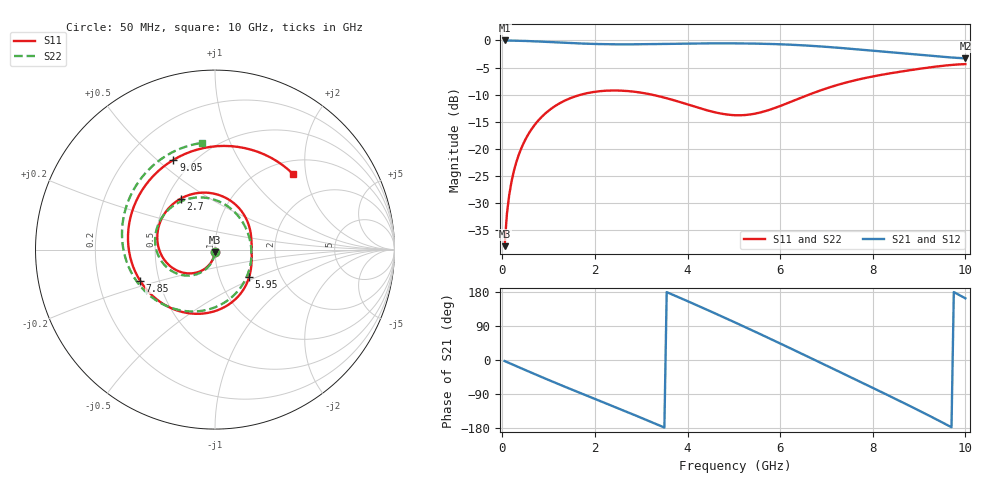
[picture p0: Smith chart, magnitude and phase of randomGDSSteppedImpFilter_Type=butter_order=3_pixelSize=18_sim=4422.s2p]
! freq	dB(S11)	phase(S11)	dB(S12)	phase(S12)
!  dB(S21)	phase(S21)	dB(S22)	phase(S22)
!S-par simulation data
#  GHz  S  DB  R 50
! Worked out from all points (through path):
!   200 points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, 50 MHz to 10 GHz, reference 50 ohm
!   highest |S21| = -0.01 dB at 50 MHz (marker M1); lowest = -3.3 dB at 10 GHz (marker M2)
!   group delay of S21, straight-line fit = 154 ps
!   lowest |S11| = -37.9 dB at 50 MHz (marker M3), VSWR 1.03, Z = 49.9 - j1.27 ohm
!   |S11| at or under -10 dB: start of sweep to 1.694 GHz; 3.237 GHz to 6.618 GHz (3.38 GHz wide, 68.6 % of centre)
!   |S22| runs from -37.9 to -4.5 dB; largest |S21 - S12| = 0
!   S11 on the Smith chart (normalised r, x): 50 MHz: 1.00, -0.03; 2.7 GHz: 0.59, +0.38; 5.95 GHz: 1.38, -0.45; 7.85 GHz: 0.39, -0.17; 9.05 GHz: 0.39, +0.57; 10 GHz: 1.28, +1.70
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0.05  -37.89 -93.0  -0.01 -2.7  -0.01 -2.7  -37.90 -93.0
0.1  -31.93 -96.0  -0.01 -5.4  -0.01 -5.4  -31.93 -95.5
0.2  -25.96 -101.5  -0.03 -10.8  -0.03 -10.8  -25.96 -100.4
0.5  -18.23 -118.3  -0.10 -26.7  -0.10 -26.7  -18.23 -115.6
1.15  -12.03 -154.1  -0.35 -60.4  -0.35 -60.4  -12.02 -147.7
1.75  -9.87 173.9  -0.58 -90.4  -0.58 -90.4  -9.87 -176.0
2.2  -9.28 150.2  -0.69 -112.6  -0.69 -112.6  -9.28 163.3
2.7  -9.32 123.7  -0.72 -137.4  -0.72 -137.4  -9.32 140.3
3.4  -10.32 85.9  -0.66 -173.1  -0.66 -173.1  -10.33 107.2
4.15  -12.18 45.7  -0.56 147.3  -0.56 147.3  -12.24 68.7
4.65  -13.35 20.9  -0.53 120.0  -0.53 120.0  -13.44 39.6
5.05  -13.78 2.7  -0.54 97.8  -0.54 97.8  -13.91 13.7
5.5  -13.41 -17.2  -0.59 72.3  -0.59 72.3  -13.56 -16.8
5.95  -12.24 -38.9  -0.69 46.5  -0.69 46.5  -12.37 -46.6
6.35  -10.90 -60.6  -0.84 23.3  -0.84 23.3  -10.98 -71.3
6.7  -9.73 -81.4  -1.01 2.9  -1.01 2.9  -9.76 -91.6
7.2  -8.29 -113.3  -1.31 -26.4  -1.31 -26.4  -8.24 -118.8
7.85  -6.89 -157.5  -1.78 -64.6  -1.78 -64.6  -6.75 -152.2
8.35  -6.10 166.7  -2.16 -94.2  -2.16 -94.2  -5.93 -176.9
9.05  -5.18 114.9  -2.69 -136.6  -2.69 -136.6  -5.09 148.4
9.55  -4.64 77.5  -3.05 -167.8  -3.05 -167.8  -4.65 122.4
10  -4.36 43.9  -3.31 162.7  -3.31 162.7  -4.46 96.9
